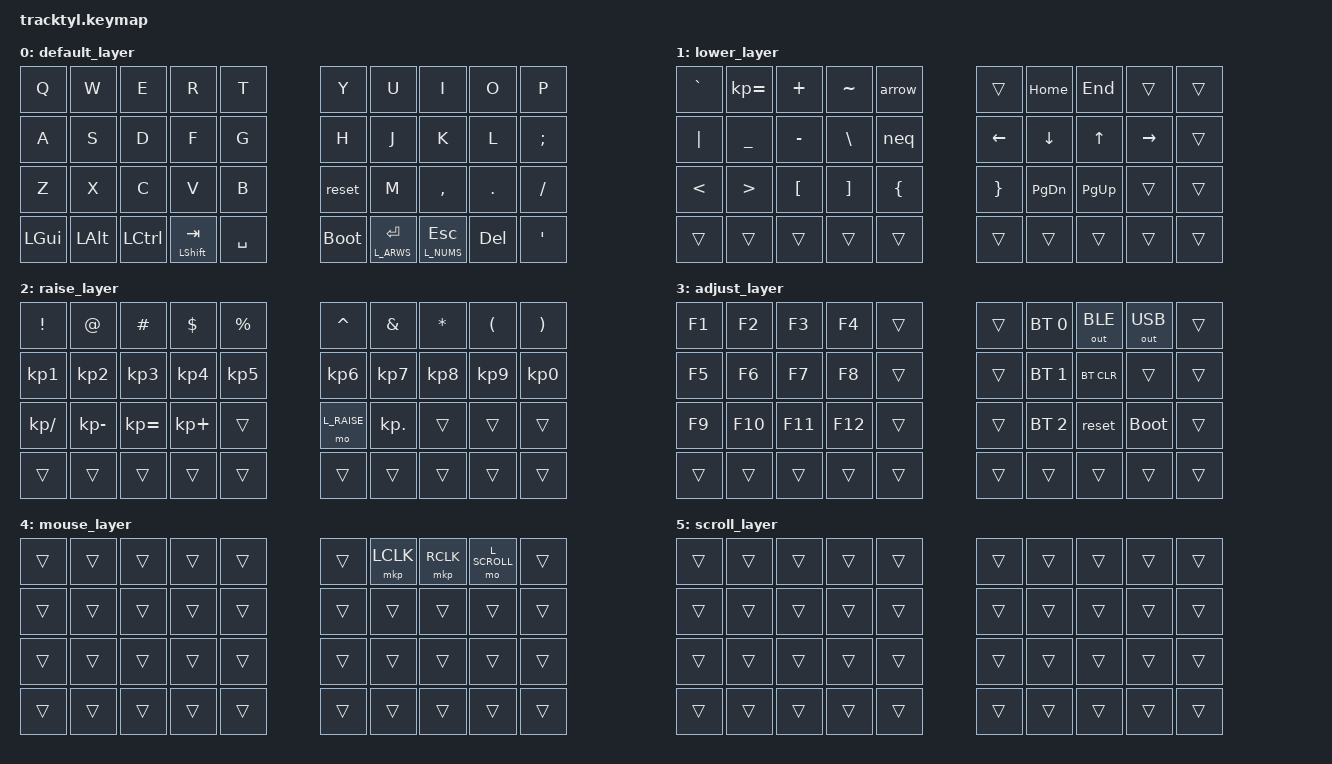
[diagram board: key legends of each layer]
#include <behaviors.dtsi>
#include <dt-bindings/zmk/keys.h>
#include <dt-bindings/zmk/bt.h>
#include <dt-bindings/zmk/outputs.h>
#include <dt-bindings/zmk/mouse.h>

#define DEFAULT 0
#define L_ARWS 1
#define L_NUMS 2
#define L_RAISE 3
#define L_MOUSE 4
#define L_SCROLL 5

/ {
    macros {
        ZMK_MACRO(neq,
            wait-ms = <0>;
			tap-ms = <20>;
            bindings = <&macro_tap &kp EXCL &kp EQUAL>;
        )
        ZMK_MACRO(arrow,
            wait-ms = <0>;
			tap-ms = <20>;
            bindings = <&macro_tap &kp MINUS &kp GT>;
        )
    };

    keymap {
        compatible = "zmk,keymap";

    /*
     * Base Layer: DEFAULT
     *
     * ,----------------------------------.                ,----------------------------------.
     * |   Q  |   W  |   E  |   R  |   T  |                |   Y  |   U  |   I  |   O  |   P  |
     * |------+------+------+------+------|                |------+------+------+------+------|
     * |   A  |   S  |  D   |   F  |   G  |                |   H  |   J  |   K  |   L  | ;  : |
     * |------+------+------+------+------|                |------+------+------+------+------|
     * |   Z  |   X  |   C  |   V  |   B  |                |   N  |   M  | ,  < | . >  | /  ? |
     * `-------------+------+------+------+------,  ,------+------+------+------+-------------'
     *        | gui  | alt  | ctrl | tab  | space|  | bspc | enter| esc  | del  |  "   |
     *        |      |      |      | shift|      |  |      | NUMS | ARWS |      |      |
     *        `----------------------------------'  '--------------------'------'------'
     */
        default_layer {
            bindings = <
                &kp Q    &kp W    &kp E    &kp R          &kp T               &kp Y    &kp U          &kp I          &kp O   &kp P
                &kp A    &kp S    &kp D    &kp F          &kp G               &kp H    &kp J          &kp K          &kp L   &kp SEMI
                &kp Z    &kp X    &kp C    &kp V          &kp B               &reset    &kp M        &kp COMMA    &kp DOT &kp FSLH
                //&kp Z    &kp X    &kp C    &kp V          &kp B               &kp N    &kp M          &kp COMMA      &kp DOT &kp FSLH
                &kp LGUI &kp LALT &kp LCTL &mt LSHIFT TAB &kp SPACE           &bootloader &lt L_ARWS RET &lt L_NUMS ESC &kp DEL &kp SQT
                //&kp LGUI &kp LALT &kp LCTL &mt LSHIFT TAB &kp SPACE           &kp BSPC &lt L_ARWS RET &lt L_NUMS ESC &kp DEL &kp SQT
            >;
        };

    /*
     * Arrows
     *
     * ,----------------------------------.                ,----------------------------------.
     * |  `   |  =   |  +   |  ~   |  ->  |                | mleft| home |  end |mright|      |
     * |------+------+------+------+------|                |------+------+------+------+------|
     * |  |   |  _   |  -   |  \   |  !=  |                | left | down |  up  | right|      |
     * |------+------+------+------+------+                +------+------+------+------+------|
     * |  <   |  >   |  [   |  ]   |  {   |                |   }  | pgdn | pgup |SCROLL|      |
     * `-------------+------+------+------+------,  ,------+------+------+------+-------------'
     *        |      |      |      |      |      |  |      |      |      |      |      |
     *        `----------------------------------'  '--------------------'------'------'
     */
        lower_layer {
            bindings = <
                &kp GRAVE &kp KP_EQUAL &kp PLUS  &kp TILDE &arrow              &trans   &kp HOME  &kp END   &trans    &trans
                &kp PIPE  &kp UNDER    &kp MINUS &kp BSLH  &neq                &kp LEFT &kp DOWN  &kp UP    &kp RIGHT &trans
                &kp LT    &kp GT       &kp LBKT  &kp RBKT  &kp LBRC            &kp RBRC &kp PG_DN &kp PG_UP &trans    &trans
                &trans    &trans       &trans    &trans    &trans              &trans   &trans    &trans    &trans    &trans
            >;
        };

    /*
     * Numbers: numbers, specials
     * keep ,. for easy typing of numbers and IPs, keep backspace for obvious reasons
     * ,----------------------------------.                ,----------------------------------.
     * |   !  |   @  |   #  |   $  |   %  |                |   ^  |   &  |   *  |   (  |   )  |
     * |------+------+------+------+------|                |------+------+------+------+------|
     * |   1  |   2  |   3  |   4  |   5  |                |   6  |   7  |   8  |   9  |   0  |
     * |------+------+------+------+------+                +------+------+------+------+------|
     * |   /  |   -  |   =  |   +  |      |                |RAISE |   .  |      |      |      |
     * `-------------+------+------+------+------,  ,------+------+------+------+-------------'
     *        |      |      |      |      |      |  |      |      |      |      |      |
     *        `----------------------------------'  '--------------------'------'------'
     */
        raise_layer {
            bindings = <
                &kp EXCL     &kp AT       &kp HASH     &kp DLLR    &kp PRCNT         &kp CARET   &kp AMPS   &kp STAR  &kp LPAR  &kp RPAR
                &kp KP_N1    &kp KP_N2    &kp KP_N3    &kp KP_N4   &kp KP_N5         &kp KP_N6   &kp KP_N7  &kp KP_N8 &kp KP_N9 &kp KP_N0
                &kp KP_SLASH &kp KP_MINUS &kp KP_EQUAL &kp KP_PLUS &trans            &mo L_RAISE &kp KP_DOT &trans    &trans    &trans
                &trans       &trans       &trans       &trans      &trans            &trans      &trans     &trans    &trans    &trans
            >;
        };

    /*
     * ,----------------------------------.                ,----------------------------------.
     * |  F1  |  F2  |  F3  |  F4  |      |                |      | BT P0|OUT BT|OUTUSB|      |
     * |------+------+------+------+------|                |------+------+------+------+------|
     * |  F5  |  F6  |  F7  |  F8  |      |                |      | BT P1|BT CLR|      |      |
     * |------+------+------+------+------|                |------+------+------+------+------|
     * |  F9  |  F10 |  F11 |  F12 |      |                |      | BT P2|RESET | BLDR |      |
     * `-------------+------+------+------+------,  ,------+------+------+------+-------------'
     *        |      |      |      |      |      |  |      |      |      |      |      |
     *        `----------------------------------'  '--------------------'------'------'
     */
        adjust_layer {
            bindings = <
                &kp F1 &kp F2  &kp F3  &kp F4  &trans         &trans &bt BT_SEL 0 &out OUT_BLE &out OUT_USB &trans
                &kp F5 &kp F6  &kp F7  &kp F8  &trans         &trans &bt BT_SEL 1 &bt BT_CLR   &trans       &trans
                &kp F9 &kp F10 &kp F11 &kp F12 &trans         &trans &bt BT_SEL 2 &reset       &bootloader  &trans
                &trans &trans  &trans  &trans  &trans         &trans &trans       &trans       &trans       &trans
            >;
        };

    /*
     * ,----------------------------------.                ,----------------------------------.
     * |      |      |      |      |      |                |      |mleft |mright|scroll|      |
     * |------+------+------+------+------|                |------+------+------+------+------|
     * |      |      |      |      |      |                |      |      |      |      |      |
     * |------+------+------+------+------|                |------+------+------+------+------|
     * |      |      |      |      |      |                |      |      |      |      |      |
     * `-------------+------+------+------+------,  ,------+------+------+------+-------------'
     *        |      |      |      |      |      |  |      |      |      |      |      |
     *        `----------------------------------'  '--------------------'------'------'
     */
        mouse_layer {
            bindings = <
                &trans &trans &trans &trans &trans         &trans &mkp LCLK &mkp RCLK &mo L_SCROLL &trans
                &trans &trans &trans &trans &trans         &trans &trans    &trans    &trans       &trans
                &trans &trans &trans &trans &trans         &trans &trans    &trans    &trans       &trans
                &trans &trans &trans &trans &trans         &trans &trans    &trans    &trans       &trans
            >;
        };

        scroll_layer {
            bindings = <
                &trans &trans &trans &trans &trans         &trans &trans &trans &trans &trans
                &trans &trans &trans &trans &trans         &trans &trans &trans &trans &trans
                &trans &trans &trans &trans &trans         &trans &trans &trans &trans &trans
                &trans &trans &trans &trans &trans         &trans &trans &trans &trans &trans
            >;
        };
    };
};
